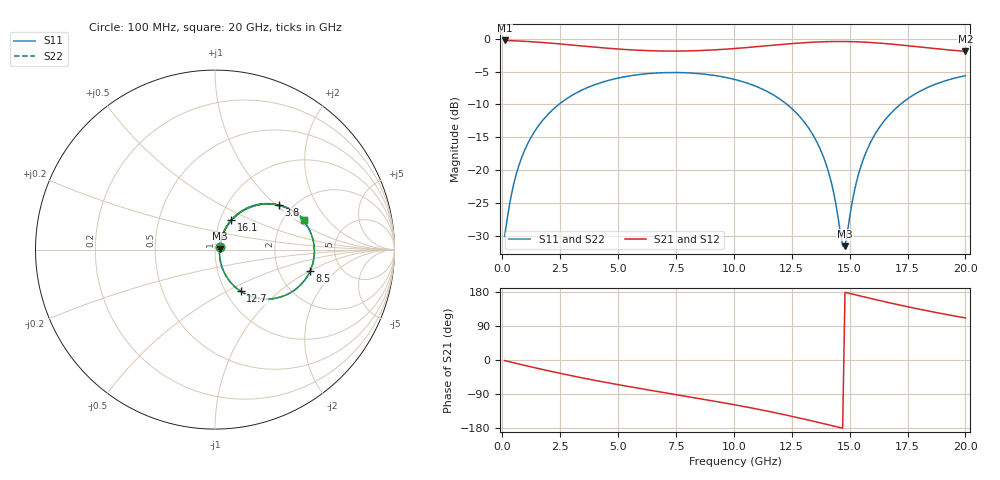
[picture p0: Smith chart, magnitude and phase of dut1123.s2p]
! Touchstone file exported from HFSS 2026.1.0
!  File:  C:/ffzhzh/LocalFiles/Ansys_Project_Files/temp_train_TSV_RDL_1123_1783306549_38704.aedt
!  Generated:  11:05:40 AM Jul  6, 2026
!  Design:  TSV_RDL
!  Project:  temp_train_TSV_RDL_1123_1783306549_38704
! Variables:
!  h_bsmrdl = 2.42um
!  h_ox = 20um
!  h_rdl = 5um
!  h_sub = 77.45um
!  h_tmrdl = 2.46um
!  h_tsv = 77.45um
!  h_via = 3um
!  l_bsmrdl = 725.53um
!  l_sub = 3970.41um
!  l_tmrdl = 315.29um
!  m_sub = 200um
!  pitch = 52.73um
!  r_tsv = 13.98um
!  s_tmrdl = 10um
!  w_bsmrdl = 15.79um
!  w_sub = 500um
!  w_tmrdl = 28.43um
!  x_tsv_center1 = 329.505um
!  x_tsv_center2 = 1070.825um
!  x_tsv_center3 = 1414.545um
!  x_tsv_center4 = 2155.865um
!  x_tsv_center5 = 2499.585um
!  x_tsv_center6 = 3240.905um
# GHz S MA R 50.000000
! Terminal data exported
! Port[1] = TM_RDL1_1_T1
! Port[2] = TM_RDL5_1_T1
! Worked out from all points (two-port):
!   200 points, 100 MHz to 20 GHz, reference 50 ohm
!   highest |S21| = -0.24 dB at 100 MHz (marker M1); lowest = -1.9 dB at 20 GHz (marker M2)
!   |S21| within 3 dB of the highest: start of sweep to end of sweep
!   lowest |S11| = -31.6 dB at 14.8 GHz (marker M3), VSWR 1.05, Z = 52.6 + j0.585 ohm
!   |S11| at or under -10 dB: start of sweep to 2.442 GHz; 12.3 GHz to 17.19 GHz (4.888 GHz wide, 33.2 % of centre)
!   |S22| runs from -31.7 to -5.1 dB; largest |S21 - S12| = 1.7e-14
!   S11 on the Smith chart (normalised r, x): 100 MHz: 1.06, +0.03; 3.8 GHz: 1.71, +1.04; 8.5 GHz: 3.00, -1.02; 12.7 GHz: 1.17, -0.59; 16.1 GHz: 1.13, +0.38; 20 GHz: 2.58, +1.19
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0.1  0.03111 28.4  0.9729 -1.5  0.9729 -1.5  0.03111 28.4
! Gamma 0 0 0 0
! Port Impedance 50 0 50 0
0.6  0.09248 62.7  0.9655 -9.0  0.9655 -9.0  0.09248 62.7
1.2  0.172 62.0  0.953 -17.5  0.953 -17.5  0.172 62.0
2.2  0.2907 52.4  0.925 -31.3  0.925 -31.3  0.2907 52.4
3.5  0.4117 38.1  0.8812 -47.8  0.8812 -47.8  0.4117 38.1
3.8  0.434 34.8  0.8713 -51.4  0.8713 -51.4  0.434 34.8
6.8  0.5508 4.0  0.8091 -84.0  0.8091 -84.0  0.5508 4.0
8.5  0.5432 -12.7  0.8143 -101.5  0.8143 -101.5  0.5432 -12.7
10.1  0.487 -29.2  0.846 -118.9  0.846 -118.9  0.487 -29.2
11.6  0.3834 -45.8  0.8919 -136.8  0.8919 -136.8  0.3833 -45.8
12.7  0.2723 -58.4  0.9262 -151.3  0.9262 -151.3  0.2723 -58.4
13.4  0.1874 -65.5  0.9432 -161.1  0.9432 -161.1  0.1873 -65.6
14.1  0.09507 -67.7  0.9534 -171.2  0.9534 -171.2  0.09502 -67.8
14.4  0.05574 -60.4  0.9552 -175.6  0.9552 -175.6  0.05568 -60.6
14.7  0.02629 -17.7  0.9553 -180.0  0.9553 -180.0  0.02617 -17.8
14.8  0.02622 12.2  0.9549 178.5  0.9549 178.5  0.0261 12.3
15.1  0.05552 55.5  0.9527 174.1  0.9527 174.1  0.05547 55.6
15.4  0.09491 62.8  0.9488 169.7  0.9488 169.7  0.09489 62.9
16.1  0.1876 60.7  0.9339 159.6  0.9339 159.6  0.1876 60.7
16.7  0.2617 54.7  0.9158 151.3  0.9158 151.3  0.2617 54.7
18.2  0.4122 37.8  0.8611 131.7  0.8611 131.7  0.4122 37.8
20  0.5237 18.6  0.8028 111.0  0.8028 111.0  0.5238 18.5
